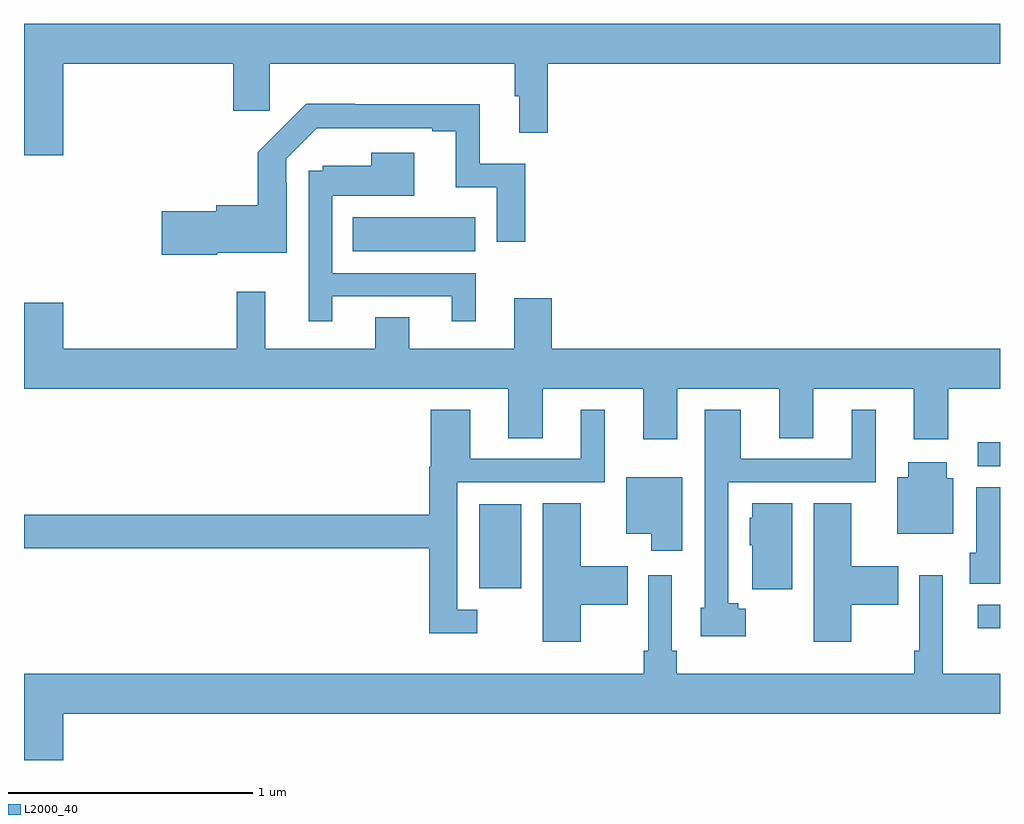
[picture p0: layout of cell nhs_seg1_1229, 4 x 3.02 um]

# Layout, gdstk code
import gdstk
lib = gdstk.Library(unit=1e-6, precision=1e-09)
def R(c, l, rs):  # rectangles x0, y0, x1, y1
    for r in rs: c.add(gdstk.rectangle(r[:2], r[2:], *l))
def P(c, l, *ps):  # polygons
    for p in ps: c.add(gdstk.Polygon(p, *l))
L2000_40 = (2000, 40)

nhs_seg1_1229 = lib.new_cell('nhs_seg1_1229')
R(nhs_seg1_1229, L2000_40, [(180.909,562.74,181,562.836), (178.865,562.904,179.038,563.248), (180.909,563.403,181,563.502), (178.348,564.284,178.849,564.424)])
P(nhs_seg1_1229, L2000_40, [(177.16,565.052),(177.857,565.052),(177.857,564.861),(178.007,564.861),(178.007,565.052),(179.011,565.052),(179.011,564.92),(179.03,564.92),(179.03,564.771),(179.147,564.771),(179.147,565.052),(181,565.052),(181,565.216),(177,565.216),(177,564.678),(177.16,564.678)],
  [(177.792,564.278),(178.077,564.278),(178.077,564.563),(178.074,564.563),(178.074,564.663),(178.2,564.789),(178.673,564.789),(178.673,564.777),(178.769,564.777),(178.769,564.546),(178.938,564.546),(178.938,564.324),(179.054,564.324),(179.054,564.642),(178.867,564.642),(178.867,564.886),(178.355,564.886),(178.355,564.889),(178.156,564.889),(177.959,564.691),(177.959,564.472),(177.788,564.472),(177.788,564.449),(177.564,564.449),(177.564,564.271),(177.792,564.271)],
  [(178.264,564.099),(178.754,564.099),(178.754,563.997),(178.852,563.997),(178.852,564.195),(178.263,564.195),(178.263,564.512),(178.6,564.512),(178.6,564.688),(178.424,564.688),(178.424,564.634),(178.224,564.634),(178.224,564.615),(178.167,564.615),(178.167,563.997),(178.264,563.997)],
  [(179.677,563.72),(180.095,563.72),(180.095,563.518),(180.235,563.518),(180.235,563.72),(180.647,563.72),(180.647,563.514),(180.787,563.514),(180.787,563.72),(181,563.72),(181,563.884),(179.162,563.884),(179.162,564.091),(179.009,564.091),(179.009,563.884),(178.579,563.884),(178.579,564.014),(178.439,564.014),(178.439,563.884),(177.989,563.884),(177.989,564.118),(177.871,564.118),(177.871,563.884),(177.16,563.884),(177.16,564.073),(177,564.073),(177,563.72),(178.985,563.72),(178.985,563.518),(179.125,563.518),(179.125,563.72),(179.537,563.72),(179.537,563.514),(179.677,563.514)],
  [(178.858,562.815),(178.776,562.815),(178.776,563.337),(179.38,563.337),(179.38,563.635),(179.282,563.635),(179.282,563.433),(178.828,563.433),(178.828,563.635),(178.667,563.635),(178.667,563.402),(178.66,563.402),(178.66,563.204),(177,563.204),(177,563.068),(178.66,563.068),(178.66,562.718),(178.858,562.718)],
  [(179.959,562.82),(179.928,562.82),(179.928,562.841),(179.886,562.841),(179.886,563.337),(180.49,563.337),(180.49,563.635),(180.392,563.635),(180.392,563.433),(179.938,563.433),(179.938,563.635),(179.79,563.635),(179.79,563.03),(179.789,563.03),(179.789,562.824),(179.774,562.824),(179.774,562.706),(179.959,562.706)],
  [(180.808,563.355),(180.781,563.355),(180.781,563.419),(180.623,563.419),(180.623,563.359),(180.578,563.359),(180.578,563.126),(180.808,563.126)],
  [(179.698,563.359),(179.468,563.359),(179.468,563.126),(179.57,563.126),(179.57,563.057),(179.698,563.057)],
  [(181,563.318),(180.902,563.318),(180.902,563.049),(180.875,563.049),(180.875,562.921),(181,562.921)],
  [(179.281,562.835),(179.474,562.835),(179.474,562.993),(179.281,562.993),(179.281,563.252),(179.126,563.252),(179.126,562.683),(179.281,562.683)],
  [(180.391,562.835),(180.584,562.835),(180.584,562.993),(180.391,562.993),(180.391,563.252),(180.236,563.252),(180.236,562.683),(180.391,562.683)],
  [(180.148,563.252),(179.984,563.252),(179.984,563.193),(179.975,563.193),(179.975,563.079),(179.985,563.079),(179.985,562.899),(180.148,562.899)],
  [(177.16,562.388),(181,562.388),(181,562.552),(180.766,562.552),(180.766,562.957),(180.669,562.957),(180.669,562.648),(180.649,562.648),(180.649,562.552),(179.675,562.552),(179.675,562.648),(179.655,562.648),(179.655,562.957),(179.559,562.957),(179.559,562.648),(179.539,562.648),(179.539,562.552),(177,562.552),(177,562.199),(177.16,562.199)])

lib.write_gds('nhs_seg1_1229.gds')
